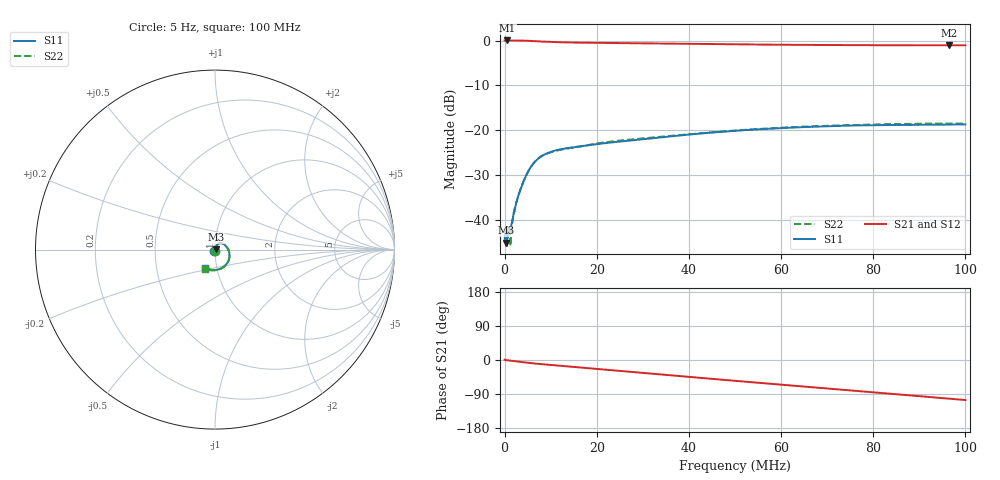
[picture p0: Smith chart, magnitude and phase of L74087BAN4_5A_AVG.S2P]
!Agilent Technologies,E5061B,MY49102235,A.02.00
!Date: Tue Jul 11 16:10:02 2023
!Data & Calibration Information:
!Freq	S11:SOLT2(ON)	S21:SOLT2(ON)	S12:SOLT2(ON)	S22:SOLT2(ON)
# Hz S RI R 50
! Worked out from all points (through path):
!   1600 points, 5 Hz to 100 MHz, reference 50 ohm
!   highest |S21| = 0.02 dB at 625.4 kHz (marker M1); lowest = -1.1 dB at 96.44 MHz (marker M2)
!   group delay of S21, straight-line fit = 2.87 ns
!   lowest |S11| = -45.1 dB at 250.2 kHz (marker M3), VSWR 1.01, Z = 50.5 + j0.151 ohm
!   |S11| at or under -10 dB: start of sweep to end of sweep
!   |S22| runs from -45.9 to -18.5 dB; largest |S21 - S12| = 0.0025
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5  -0.0052 -0.00565  1.002 0.00811  1 0.0102  -0.0015 -0.00757
250161.3  0.00533 0.0015  1.001 -0.00477  1.001 -0.00487  0.0073 -0.000346
625395.8  0.00525 0.00358  1.002 -0.0145  1.002 -0.0143  0.00626 0.0032
938091.3  0.00459 0.00588  1.001 -0.0213  1.001 -0.0209  0.00615 0.00529
1313326  0.00495 0.00661  1.001 -0.0303  1.001 -0.0304  0.00314 0.00508
1688560  0.00455 0.0087  0.9998 -0.0404  1.001 -0.0408  0.00427 0.00786
2063795  0.00415 0.0116  1 -0.05  0.9997 -0.0506  0.00459 0.0114
2376490  0.00469 0.0134  0.9984 -0.0576  0.999 -0.058  0.00535 0.0137
2939342  0.00651 0.017  0.9972 -0.0718  0.9969 -0.072  0.00548 0.0174
3502194  0.00788 0.0205  0.9952 -0.0862  0.9951 -0.0861  0.00698 0.0212
4878054  0.014 0.0295  0.9873 -0.121  0.9871 -0.1209  0.0136 0.0299
6316452  0.0242 0.0354  0.9741 -0.1541  0.9738 -0.1542  0.0236 0.0356
7942469  0.036 0.0358  0.9578 -0.1855  0.9576 -0.1855  0.0358 0.0363
9881180  0.0468 0.032  0.9405 -0.2182  0.9402 -0.2181  0.0461 0.0321
1.669794e7  0.0644 0.015  0.8895 -0.3241  0.8894 -0.3239  0.0642 0.0149
2.345216e7  0.0729 0.00126  0.8355 -0.4273  0.8353 -0.4271  0.0748 5.61e-05
3.333334e7  0.0796 -0.0211  0.7344 -0.5647  0.7343 -0.5645  0.0807 -0.0223
5.003127e7  0.0739 -0.0648  0.5213 -0.7424  0.5212 -0.7423  0.0737 -0.066
6.672921e7  0.0392 -0.1016  0.2775 -0.8486  0.2777 -0.8486  0.04 -0.1026
8.33646e7  -0.00709 -0.1137  0.0206 -0.8859  0.0206 -0.886  -0.00702 -0.1161
9.643527e7  -0.0437 -0.1067  -0.1838 -0.865  -0.1837 -0.8652  -0.0443 -0.1099
1e8  -0.0531 -0.1029  -0.2387 -0.8517  -0.2386 -0.8518  -0.0534 -0.1058
